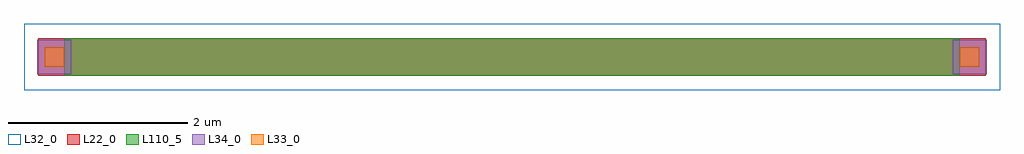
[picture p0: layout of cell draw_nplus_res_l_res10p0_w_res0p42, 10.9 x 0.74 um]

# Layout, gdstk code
import gdstk
lib = gdstk.Library(unit=1e-6, precision=1e-09)
def R(c, l, rs):  # rectangles x0, y0, x1, y1
    for r in rs: c.add(gdstk.rectangle(r[:2], r[2:], *l))
L22_0 = (22, 0)
L32_0 = (32, 0)
L33_0 = (33, 0)
L34_0 = (34, 0)
L110_5 = (110, 5)

draw_nplus_res_l_res10p0 = lib.new_cell('draw_nplus_res_l_res10p0_w_res0p42')
R(draw_nplus_res_l_res10p0, L22_0, [(-0.29,0,10.29,0.42)])
R(draw_nplus_res_l_res10p0, L32_0, [(-0.45,-0.16,10.45,0.58)])
R(draw_nplus_res_l_res10p0, L33_0, [(-0.22,0.1,0,0.32), (10,0.1,10.22,0.32)])
R(draw_nplus_res_l_res10p0, L34_0, [(-0.3,0.02,0.08,0.4), (9.92,0.02,10.3,0.4)])
R(draw_nplus_res_l_res10p0, L110_5, [(0,0,10,0.42)])

lib.write_gds('draw_nplus_res_l_res10p0_w_res0p42.gds')
